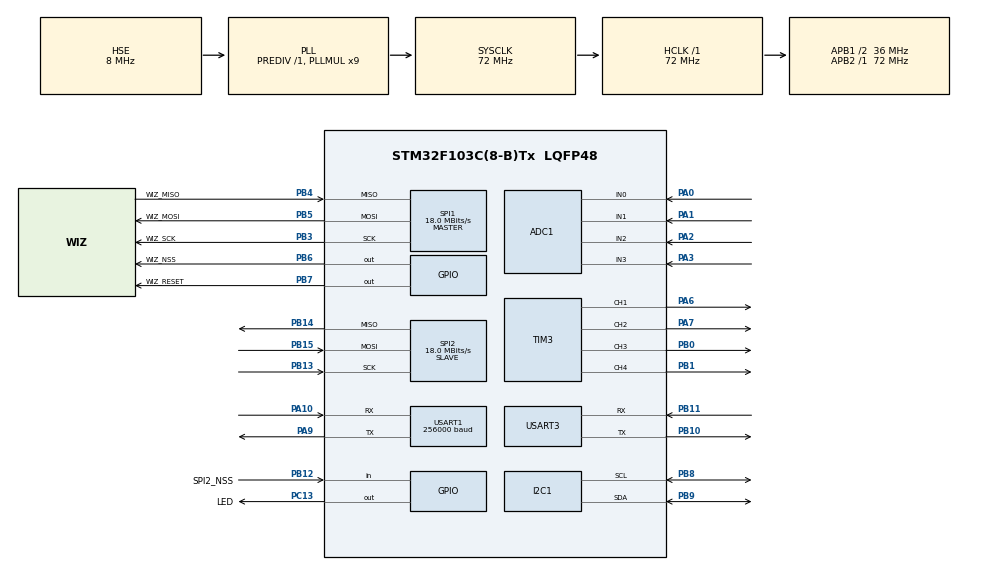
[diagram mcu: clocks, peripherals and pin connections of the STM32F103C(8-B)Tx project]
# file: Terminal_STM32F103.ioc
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ADC1.Channel-0\#ChannelRegularConversion=ADC_CHANNEL_0
ADC1.NbrOfConversionFlag=1
ADC1.Rank-0\#ChannelRegularConversion=1
ADC1.SamplingTime-0\#ChannelRegularConversion=ADC_SAMPLETIME_1CYCLE_5
ADC1.master=1
Mcu.Family=STM32F1
Mcu.Name=STM32F103C(8-B)Tx
Mcu.Package=LQFP48
NVIC.PriorityGroup=NVIC_PRIORITYGROUP_4
NVIC.TIM3_IRQn=true\:2\:0\:true\:false\:true\:true
NVIC.USART1_IRQn=true\:1\:0\:true\:false\:true\:true
PA0-WKUP.Signal=ADCx_IN0
PA1.Signal=ADCx_IN1
PA10.Mode=Asynchronous
PA10.Signal=USART1_RX
PA13.Mode=Serial_Wire
PA13.Signal=SYS_JTMS-SWDIO
PA14.Mode=Serial_Wire
PA14.Signal=SYS_JTCK-SWCLK
PA2.Signal=ADCx_IN2
PA3.Signal=ADCx_IN3
PA6.Signal=S_TIM3_CH1
PA7.Signal=S_TIM3_CH2
PA9.Mode=Asynchronous
PA9.Signal=USART1_TX
PB0.Signal=S_TIM3_CH3
PB1.Signal=S_TIM3_CH4
PB10.Mode=Asynchronous
PB10.Signal=USART3_TX
PB11.Mode=Asynchronous
PB11.Signal=USART3_RX
PB12.GPIO_Label=SPI2_NSS
PB12.Signal=GPIO_Input
PB13.Mode=Full_Duplex_Slave
PB13.Signal=SPI2_SCK
PB14.Mode=Full_Duplex_Slave
PB14.Signal=SPI2_MISO
PB15.Mode=Full_Duplex_Slave
PB15.Signal=SPI2_MOSI
PB3.GPIO_Label=WIZ_SCK
PB3.Mode=Full_Duplex_Master
PB3.Signal=SPI1_SCK
PB4.GPIO_Label=WIZ_MISO
PB4.Mode=Full_Duplex_Master
PB4.Signal=SPI1_MISO
PB5.GPIO_Label=WIZ_MOSI
PB5.Mode=Full_Duplex_Master
PB5.Signal=SPI1_MOSI
PB6.GPIO_Label=WIZ_NSS
PB6.Signal=GPIO_Output
PB7.GPIO_Label=WIZ_RESET
PB7.Signal=GPIO_Output
PB8.Mode=I2C
PB8.Signal=I2C1_SCL
PB9.Mode=I2C
PB9.Signal=I2C1_SDA
PC13-TAMPER-RTC.GPIO_Label=LED
PC13-TAMPER-RTC.Signal=GPIO_Output
PD0-OSC_IN.Mode=HSE-External-Oscillator
PD0-OSC_IN.Signal=RCC_OSC_IN
PD1-OSC_OUT.Mode=HSE-External-Oscillator
PD1-OSC_OUT.Signal=RCC_OSC_OUT
ProjectManager.HeapSize=0x800
ProjectManager.StackSize=0x600
ProjectManager.TargetToolchain=EWARM V8
RCC.ADCPresc=RCC_ADCPCLK2_DIV6
RCC.AHBFreq_Value=72000000
RCC.APB1CLKDivider=RCC_HCLK_DIV2
RCC.APB1Freq_Value=36000000
RCC.APB1TimFreq_Value=72000000
RCC.APB2Freq_Value=72000000
RCC.APB2TimFreq_Value=72000000
RCC.HCLKFreq_Value=72000000
RCC.PLLMUL=RCC_PLL_MUL9
RCC.PLLSourceVirtual=RCC_PLLSOURCE_HSE
RCC.SYSCLKFreq_VALUE=72000000
RCC.SYSCLKSource=RCC_SYSCLKSOURCE_PLLCLK
RCC.USBFreq_Value=72000000
SH.ADCx_IN0.0=ADC1_IN0,IN0
SH.ADCx_IN1.0=ADC1_IN1,IN1
SH.ADCx_IN2.0=ADC1_IN2,IN2
SH.ADCx_IN3.0=ADC1_IN3,IN3
SH.S_TIM3_CH1.0=TIM3_CH1,PWM Generation1 CH1
SH.S_TIM3_CH2.0=TIM3_CH2,PWM Generation2 CH2
SH.S_TIM3_CH3.0=TIM3_CH3,PWM Generation3 CH3
SH.S_TIM3_CH4.0=TIM3_CH4,PWM Generation4 CH4
SPI1.BaudRatePrescaler=SPI_BAUDRATEPRESCALER_4
SPI1.CalculateBaudRate=18.0 MBits/s
SPI1.Direction=SPI_DIRECTION_2LINES
SPI1.Mode=SPI_MODE_MASTER
SPI1.VirtualType=VM_MASTER
SPI2.CalculateBaudRate=18.0 MBits/s
SPI2.Direction=SPI_DIRECTION_2LINES
SPI2.Mode=SPI_MODE_SLAVE
SPI2.VirtualType=VM_SLAVE
TIM3.Channel-PWM\ Generation1\ CH1=TIM_CHANNEL_1
TIM3.Channel-PWM\ Generation2\ CH2=TIM_CHANNEL_2
TIM3.Channel-PWM\ Generation3\ CH3=TIM_CHANNEL_3
TIM3.Channel-PWM\ Generation4\ CH4=TIM_CHANNEL_4
USART1.BaudRate=256000
USART1.VirtualMode=VM_ASYNC
USART3.VirtualMode=VM_ASYNC
VP_TIM3_VS_ClockSourceINT.Mode=Internal
board=custom

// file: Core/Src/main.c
/**
  ******************************************************************************
  * @file           : main.c
  * @brief          : Main program body
  ******************************************************************************
  ** This notice applies to any and all portions of this file
  * that are not between comment pairs USER CODE BEGIN and
  * USER CODE END. Other portions of this file, whether
  * inserted by the user or by software development tools
  * are owned by their respective copyright owners.
  *
  * COPYRIGHT(c) 2021 STMicroelectronics
  *
  * Redistribution and use in source and binary forms, with or without modification,
  * are permitted provided that the following conditions are met:
  *   1. Redistributions of source code must retain the above copyright notice,
  *      this list of conditions and the following disclaimer.
  *   2. Redistributions in binary form must reproduce the above copyright notice,
  *      this list of conditions and the following disclaimer in the documentation
  *      and/or other materials provided with the distribution.
  *   3. Neither the name of STMicroelectronics nor the names of its contributors
  *      may be used to endorse or promote products derived from this software
  *      without specific prior written permission.
  *
  * THIS SOFTWARE IS PROVIDED BY THE COPYRIGHT HOLDERS AND CONTRIBUTORS "AS IS"
  * AND ANY EXPRESS OR IMPLIED WARRANTIES, INCLUDING, BUT NOT LIMITED TO, THE
  * IMPLIED WARRANTIES OF MERCHANTABILITY AND FITNESS FOR A PARTICULAR PURPOSE ARE
  * DISCLAIMED. IN NO EVENT SHALL THE COPYRIGHT HOLDER OR CONTRIBUTORS BE LIABLE
  * FOR ANY DIRECT, INDIRECT, INCIDENTAL, SPECIAL, EXEMPLARY, OR CONSEQUENTIAL
  * DAMAGES (INCLUDING, BUT NOT LIMITED TO, PROCUREMENT OF SUBSTITUTE GOODS OR
  * SERVICES; LOSS OF USE, DATA, OR PROFITS; OR BUSINESS INTERRUPTION) HOWEVER
  * CAUSED AND ON ANY THEORY OF LIABILITY, WHETHER IN CONTRACT, STRICT LIABILITY,
  * OR TORT (INCLUDING NEGLIGENCE OR OTHERWISE) ARISING IN ANY WAY OUT OF THE USE
  * OF THIS SOFTWARE, EVEN IF ADVISED OF THE POSSIBILITY OF SUCH DAMAGE.
  *
  ******************************************************************************
  */
#include "main.h"
#include "stm32f1xx_hal.h"
#include "adc.h"
#include "i2c.h"
#include "spi.h"
#include "tim.h"
#include "usart.h"
#include "gpio.h"

/* USER CODE BEGIN Includes */
#define APLICATION_ADDRESS 0x08000000

#include "xTimer.h"
#include "Ports.h"
#include "Bootloader.h"
#include "Usart1.h"
/* USER CODE END Includes */

/* USER CODE BEGIN PV */
/* Private variables ---------------------------------------------------------*/
xTimerT TimerMain;

xTimerTaskT *TimerTask1;
int request_start_main;

uint32_t boot_jump_address;
AppFuncT app_boot;
/* USER CODE END PV */

void SystemClock_Config(void);

/* USER CODE BEGIN PFP */
/* Private function prototypes -----------------------------------------------*/

/* USER CODE END PFP */

/* USER CODE BEGIN 0 */
void TimerAction1(xTimerT* context, xTimerTaskT* task)
{
  //xThreadAdd(&ThreadMain, (xThreadAction)ThreadAction1, 0, 0, 0);
  Ports.C.Out->LED ^= true;
}

void AppBoot()
{
  __disable_irq();

  HAL_DeInit();

  __set_MSP(*(volatile uint32_t*)APLICATION_ADDRESS);
  app_boot();

  NVIC_SystemReset();
}

void TimerAction2(xTimerT* context, xTimerTaskT* task)
{
  //to_boot = true;
   //AppBoot();
  xTxAdd(&Usart1.Tx, "qwerty\r", sizeof_str("qwerty\r"));
  //printf("%s", "qwerty\r");
  Ports.C.Out->LED ^= true;
}
/* USER CODE END 0 */

int main(void)
{
  /* USER CODE BEGIN 1 */
  /*
  __set_PRIMASK(1);
  SCB->VTOR = ((uint32_t)0x08008000);
  //NVIC_SetVectorTable(0x08000000, 0x8000);
  __set_PRIMASK(0);

  boot_jump_address = *(uint32_t*)(APLICATION_ADDRESS + 4);
  app_boot = (AppFuncT)boot_jump_address;
*/
  /* USER CODE END 1 */

  /* MCU Configuration----------------------------------------------------------*/

  /* Reset of all peripherals, Initializes the Flash interface and the Systick. */
  HAL_Init();

  /* Configure the system clock */
  SystemClock_Config();

  /* Initialize all configured peripherals */
  MX_GPIO_Init();
  MX_USART1_UART_Init();
  MX_SPI1_Init();
  MX_ADC1_Init();
  MX_SPI2_Init();
  MX_I2C1_Init();
  MX_USART3_UART_Init();
  MX_TIM3_Init();
  /* USER CODE BEGIN 2 */
  Usart1_Init();

  Ports.A.In->Value;
  Ports.B.In->Value;
  Ports.C.In->Value;

  TimerTask1 = xTimerAdd(&TimerMain, (xTimerAction)TimerAction2, 1000, 1000);
  TimerTask1->State.Enable = true;

  //xTimerAdd(&TimerMain, (xTimerAction)TimerAction2, 20000, 0)->State.Enable = true;
  /* USER CODE END 2 */

  /* Infinite loop */
  /* USER CODE BEGIN WHILE */
  while (1)
  {
    xTimer(&TimerMain);
    Usart1_Handler();
    /*
    if(request_start_main != -1)
    {
      switch(request_start_main)
      {
        case 1: app_boot(); break;
      }
      request_start_main = -1;
    }
    */
  /* USER CODE END WHILE */

  }

}

void SystemClock_Config(void)
{

  RCC_OscInitTypeDef RCC_OscInitStruct;
  RCC_ClkInitTypeDef RCC_ClkInitStruct;
  RCC_PeriphCLKInitTypeDef PeriphClkInit;

    /**Initializes the CPU, AHB and APB busses clocks
    */
  RCC_OscInitStruct.OscillatorType = RCC_OSCILLATORTYPE_HSE;
  RCC_OscInitStruct.HSEState = RCC_HSE_ON;
  RCC_OscInitStruct.HSEPredivValue = RCC_HSE_PREDIV_DIV1;
  RCC_OscInitStruct.HSIState = RCC_HSI_ON;
  RCC_OscInitStruct.PLL.PLLState = RCC_PLL_ON;
  RCC_OscInitStruct.PLL.PLLSource = RCC_PLLSOURCE_HSE;
  RCC_OscInitStruct.PLL.PLLMUL = RCC_PLL_MUL9;
  if (HAL_RCC_OscConfig(&RCC_OscInitStruct) != HAL_OK)
  {
    _Error_Handler(__FILE__, __LINE__);
  }

    /**Initializes the CPU, AHB and APB busses clocks
    */
  RCC_ClkInitStruct.ClockType = RCC_CLOCKTYPE_HCLK|RCC_CLOCKTYPE_SYSCLK
                              |RCC_CLOCKTYPE_PCLK1|RCC_CLOCKTYPE_PCLK2;
  RCC_ClkInitStruct.SYSCLKSource = RCC_SYSCLKSOURCE_PLLCLK;
  RCC_ClkInitStruct.AHBCLKDivider = RCC_SYSCLK_DIV1;
  RCC_ClkInitStruct.APB1CLKDivider = RCC_HCLK_DIV2;
  RCC_ClkInitStruct.APB2CLKDivider = RCC_HCLK_DIV1;

  if (HAL_RCC_ClockConfig(&RCC_ClkInitStruct, FLASH_LATENCY_2) != HAL_OK)
  {
    _Error_Handler(__FILE__, __LINE__);
  }

  PeriphClkInit.PeriphClockSelection = RCC_PERIPHCLK_ADC;
  PeriphClkInit.AdcClockSelection = RCC_ADCPCLK2_DIV6;
  if (HAL_RCCEx_PeriphCLKConfig(&PeriphClkInit) != HAL_OK)
  {
    _Error_Handler(__FILE__, __LINE__);
  }

    /**Configure the Systick interrupt time
    */
  HAL_SYSTICK_Config(HAL_RCC_GetHCLKFreq()/1000);

    /**Configure the Systick
    */
  HAL_SYSTICK_CLKSourceConfig(SYSTICK_CLKSOURCE_HCLK);

  /* SysTick_IRQn interrupt configuration */
  HAL_NVIC_SetPriority(SysTick_IRQn, 2, 0);
}

/* USER CODE BEGIN 4 */
/*
#if defined(__GNUC__)
  int _write(int fd, char * ptr, int len)
  {
    xTxAdd(&Usart1.Tx, buffer, size);
    return len;
  }
#elif defined (__ICCARM__)
#include "LowLevelIOInterface.h"
  size_t __write(int handle, const unsigned char * buffer, size_t size)
  {
    xTxAdd(&Usart1.Tx, (uint8_t*)buffer, size);
    return size;
  }

  int __io_putchar(int ch)
  {
    xTxPutByte(&Usart1.Tx, ch);
    return true;
  }
#elif defined (__CC_ARM)
  int fputc(int ch, FILE *f)
  {
      xTxPutByte(&Usart1.Tx, ch);
      return ch;
  }
#endif
*/
/* USER CODE END 4 */

void _Error_Handler(char *file, int line)
{
  while(1)
  {
  }
}

/************************ (C) COPYRIGHT STMicroelectronics *****END OF FILE****/
